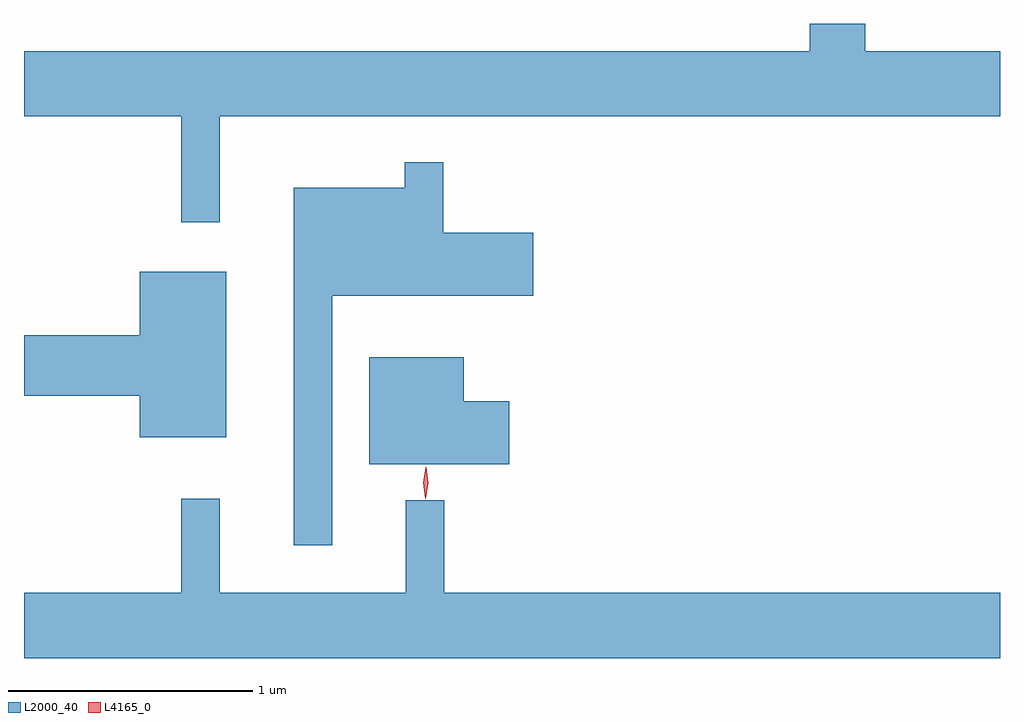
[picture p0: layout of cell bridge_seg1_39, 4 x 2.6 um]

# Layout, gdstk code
import gdstk
lib = gdstk.Library(unit=1e-6, precision=1e-09)
def P(c, l, *ps):  # polygons
    for p in ps: c.add(gdstk.Polygon(p, *l))
L2000_40 = (2000, 40)
L4165_0 = (4165, 0)

bridge_seg1_39 = lib.new_cell('bridge_seg1_39')
P(bridge_seg1_39, L2000_40, [(1541.324,932.876),(1544.521,932.876),(1544.521,933.144),(1543.969,933.144),(1543.969,933.255),(1543.741,933.255),(1543.741,933.144),(1540.521,933.144),(1540.521,932.876),(1541.166,932.876),(1541.166,932.443),(1541.324,932.443)],
  [(1541.784,932.141),(1542.609,932.141),(1542.609,932.399),(1542.239,932.399),(1542.239,932.688),(1542.081,932.688),(1542.081,932.584),(1541.626,932.584),(1541.626,931.118),(1541.784,931.118)],
  [(1541.349,932.239),(1540.996,932.239),(1540.996,931.979),(1540.521,931.979),(1540.521,931.731),(1540.996,931.731),(1540.996,931.561),(1541.349,931.561)],
  [(1542.509,931.709),(1542.324,931.709),(1542.324,931.889),(1541.936,931.889),(1541.936,931.451),(1542.509,931.451)],
  [(1544.521,930.924),(1542.244,930.924),(1542.244,931.303),(1542.086,931.303),(1542.086,930.924),(1541.324,930.924),(1541.324,931.308),(1541.166,931.308),(1541.166,930.924),(1540.521,930.924),(1540.521,930.656),(1544.521,930.656)])
P(bridge_seg1_39, L4165_0, [(1542.166,931.309),(1542.166,931.309),(1542.157,931.374),(1542.168,931.439),(1542.168,931.44),(1542.169,931.439),(1542.177,931.374),(1542.167,931.309)])

lib.write_gds('bridge_seg1_39.gds')
